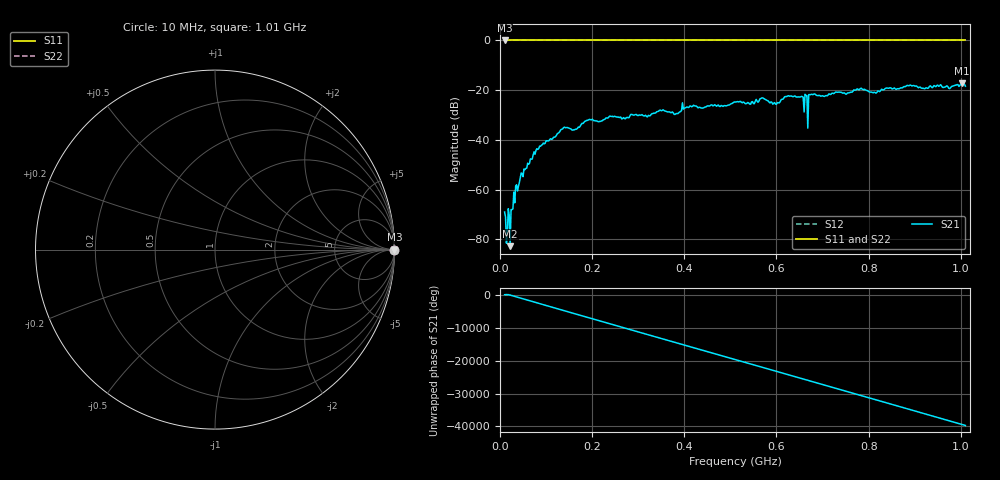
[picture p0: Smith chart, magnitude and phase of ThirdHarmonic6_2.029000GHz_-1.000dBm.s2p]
! 8/17/2025 12:21:00 AM
! C:\ANRITSUVNA\TEMP\TEMP.S2P
! CHANNEL.1
! TR.MEASUREMENT
! RAW.DATA
! RF.CORRECTION.OFF
! AVERAGING.OFF
! IF.BANDWIDTH: 5KHZ
! SWEEPTYPE:  FREQ.SWEEP(Linear)
! Reference Plane Port Info
! PORT:  PORT1  PORT2
! DISTANCE:  0  m  0  m
! TIME:  0  s  0  s
! PHASE.OFFSET:  0  deg.  0  deg.
! LOSS:  0  dB  0  dB
! REF.LOSS:  0  dB  0  dB
! REF.FREQ:  0  Hz  0  Hz
! Power Info
! POWER:  -20  dBm  -20  dBm
! EFF.POWER:  -20  dBm  -20  dBm
! SOURCE.ATTEN:  0  dB  0  dB
! TEST.ATTEN:  0  dB  0  dB
# GHZ S RI R 50.0
! FREQ.GHZ  S11RE  S11IM  S21RE  S21IM  S12RE  S12IM  S22RE  S22IM
!; PortSelection: Port_12
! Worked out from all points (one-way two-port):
!   501 points, 10 MHz to 1.01 GHz, reference 50 ohm
!   highest |S21| = -17.17 dB at 1.002 GHz (marker M1); lowest = -82.7 dB at 22 MHz (marker M2)
!   lowest |S11| = 0.0 dB at 10 MHz (marker M3)
!   |S11| at or under -10 dB: nowhere
!   |S22| runs from 0.0 to 0.0 dB; largest |S21 - S12| = 1.1
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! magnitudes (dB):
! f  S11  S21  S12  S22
! 10 MHz  0.0  -69.0  0.0  0.0
! 18 MHz  0.0  -67.7  0.0  0.0
! 22 MHz  0.0  -82.7  0.0  0.0
! 34 MHz  0.0  -58.5  0.0  0.0
! 44 MHz  0.0  -55.3  0.0  0.0
! 76 MHz  0.0  -45.8  0.0  0.0
! 136 MHz  0.0  -35.6  0.0  0.0
! 178 MHz  0.0  -33.4  0.0  0.0
! 344 MHz  0.0  -28.5  0.0  0.0
! 382 MHz  0.0  -29.4  0.0  0.0
! 400 MHz  0.0  -27.2  0.0  0.0
! 510 MHz  0.0  -24.7  0.0  0.0
! 570 MHz  0.0  -23.1  0.0  0.0
! 596 MHz  0.0  -25.0  0.0  0.0
! 628 MHz  0.0  -22.4  0.0  0.0
! 654 MHz  0.0  -22.5  0.0  0.0
! 662 MHz  0.0  -21.7  0.0  0.0
! 664 MHz  0.0  -22.1  0.0  0.0
! 678 MHz  0.0  -21.7  0.0  0.0
! 844 MHz  0.0  -19.2  0.0  0.0
! 1.002 GHz  0.0  -17.2  0.0  0.0
! 1.01 GHz  0.0  -18.4  0.0  0.0
